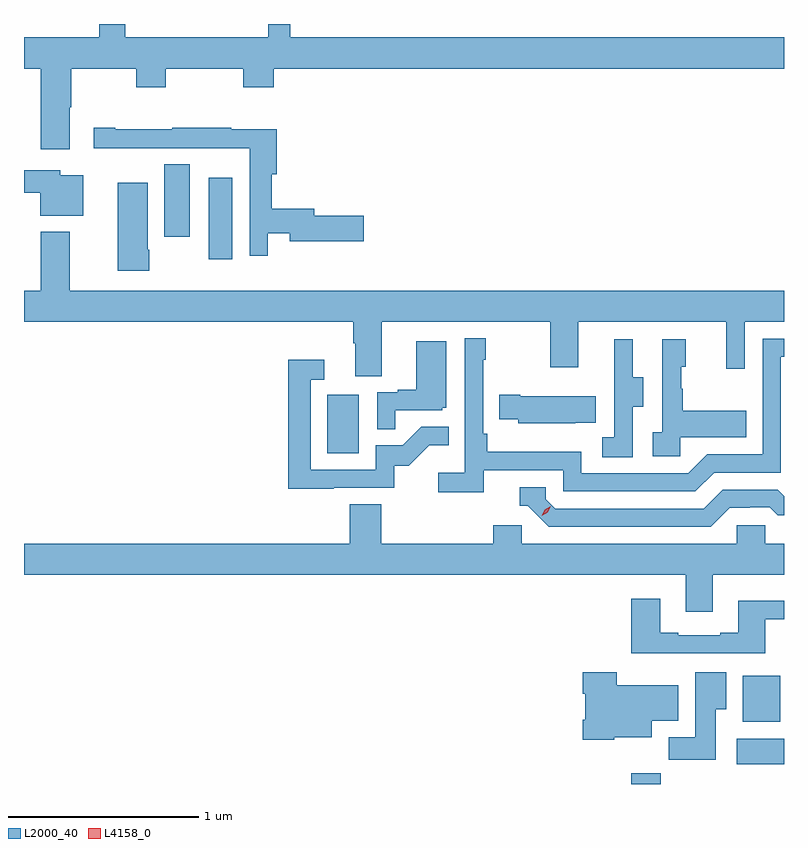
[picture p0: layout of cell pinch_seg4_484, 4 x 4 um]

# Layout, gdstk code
import gdstk
lib = gdstk.Library(unit=1e-6, precision=1e-09)
def R(c, l, rs):  # rectangles x0, y0, x1, y1
    for r in rs: c.add(gdstk.rectangle(r[:2], r[2:], *l))
def P(c, l, *ps):  # polygons
    for p in ps: c.add(gdstk.Polygon(p, *l))
L2000_40 = (2000, 40)
L4158_0 = (4158, 0)

pinch_seg4_484 = lib.new_cell('pinch_seg4_484')
R(pinch_seg4_484, L2000_40, [(950.801,761.087,950.957,761.144), (951.357,761.192,951.605,761.326), (951.389,761.414,951.586,761.656), (949.202,762.828,949.366,763.135), (948.578,763.848,948.7,764.278), (948.344,763.968,948.478,764.348)])
P(pinch_seg4_484, L2000_40, [(947.845,764.648),(947.853,764.648),(947.853,764.852),(948.196,764.852),(948.196,764.753),(948.351,764.753),(948.351,764.852),(948.76,764.852),(948.76,764.753),(948.92,764.753),(948.92,764.852),(951.605,764.852),(951.605,765.016),(949.007,765.016),(949.007,765.087),(948.891,765.087),(948.891,765.016),(948.139,765.016),(948.139,765.087),(948,765.087),(948,765.016),(947.605,765.016),(947.605,764.852),(947.693,764.852),(947.693,764.427),(947.845,764.427)],
  [(948.888,763.986),(949.004,763.986),(949.004,763.943),(949.393,763.943),(949.393,764.078),(949.132,764.078),(949.132,764.114),(948.908,764.114),(948.908,764.297),(948.935,764.297),(948.935,764.532),(948.695,764.532),(948.695,764.542),(948.385,764.542),(948.385,764.532),(948.085,764.532),(948.085,764.542),(947.973,764.542),(947.973,764.432),(948.248,764.432),(948.248,764.433),(948.582,764.433),(948.582,764.432),(948.792,764.432),(948.792,763.866),(948.888,763.866)],
  [(947.917,764.29),(947.796,764.29),(947.796,764.316),(947.605,764.316),(947.605,764.2),(947.69,764.2),(947.69,764.078),(947.917,764.078)],
  [(948.264,763.9),(948.256,763.9),(948.256,764.251),(948.098,764.251),(948.098,763.788),(948.264,763.788)],
  [(949.489,763.52),(950.374,763.52),(950.374,763.281),(950.521,763.281),(950.521,763.52),(951.302,763.52),(951.302,763.272),(951.399,763.272),(951.399,763.52),(951.605,763.52),(951.605,763.684),(947.845,763.684),(947.845,763.993),(947.693,763.993),(947.693,763.684),(947.605,763.684),(947.605,763.52),(949.337,763.52),(949.337,763.408),(949.349,763.408),(949.349,763.234),(949.489,763.234)],
  [(950.024,762.738),(950.442,762.738),(950.442,762.627),(951.139,762.627),(951.238,762.726),(951.588,762.726),(951.588,763.335),(951.605,763.335),(951.605,763.431),(951.492,763.431),(951.492,762.822),(951.201,762.822),(951.102,762.723),(950.538,762.723),(950.538,762.835),(950.042,762.835),(950.042,762.931),(950.022,762.931),(950.022,763.319),(950.035,763.319),(950.035,763.432),(949.926,763.432),(949.926,762.724),(949.785,762.724),(949.785,762.622),(950.024,762.622)],
  [(951.06,762.911),(951.407,762.911),(951.407,763.051),(951.073,763.051),(951.073,763.166),(951.063,763.166),(951.063,763.284),(951.088,763.284),(951.088,763.429),(950.964,763.429),(950.964,762.938),(950.913,762.938),(950.913,762.813),(951.06,762.813)],
  [(950.808,763.072),(950.863,763.072),(950.863,763.227),(950.809,763.227),(950.809,763.429),(950.711,763.429),(950.711,763.215),(950.712,763.215),(950.712,762.911),(950.649,762.911),(950.649,762.808),(950.808,762.808)],
  [(949.559,763.053),(949.806,763.053),(949.806,763.068),(949.828,763.068),(949.828,763.417),(949.67,763.417),(949.67,763.162),(949.571,763.162),(949.571,763.149),(949.464,763.149),(949.464,762.955),(949.559,762.955)],
  [(949.235,762.645),(949.554,762.645),(949.554,762.762),(949.63,762.762),(949.737,762.869),(949.841,762.869),(949.841,762.968),(949.697,762.968),(949.599,762.87),(949.455,762.87),(949.455,762.741),(949.113,762.741),(949.113,763.215),(949.186,763.215),(949.186,763.321),(948.997,763.321),(948.997,762.64),(949.235,762.64)],
  [(950.507,762.989),(950.615,762.989),(950.615,763.129),(950.218,763.129),(950.218,763.137),(950.107,763.137),(950.107,763.007),(950.205,763.007),(950.205,762.986),(950.507,762.986)],
  [(951.319,762.54),(951.426,762.54),(951.426,762.543),(951.529,762.543),(951.571,762.501),(951.605,762.501),(951.605,762.602),(951.571,762.636),(951.282,762.636),(951.183,762.537),(950.4,762.537),(950.352,762.585),(950.352,762.648),(950.213,762.648),(950.213,762.552),(950.256,762.552),(950.367,762.441),(951.22,762.441)],
  [(951.605,762.352),(951.507,762.352),(951.507,762.45),(951.357,762.45),(951.357,762.352),(950.226,762.352),(950.226,762.45),(950.075,762.45),(950.075,762.352),(949.484,762.352),(949.484,762.56),(949.319,762.56),(949.319,762.352),(947.605,762.352),(947.605,762.188),(951.089,762.188),(951.089,761.994),(951.229,761.994),(951.229,762.188),(951.605,762.188)],
  [(951.041,761.775),(951.505,761.775),(951.505,761.955),(951.605,761.955),(951.605,762.052),(951.365,762.052),(951.365,761.884),(951.269,761.884),(951.269,761.871),(951.049,761.871),(951.049,761.884),(950.953,761.884),(950.953,762.061),(950.801,762.061),(950.801,761.774),(951.041,761.774)],
  [(951.247,761.48),(951.301,761.48),(951.301,761.674),(951.137,761.674),(951.137,761.332),(950.998,761.332),(950.998,761.214),(951.247,761.214)],
  [(950.712,761.333),(950.908,761.333),(950.908,761.42),(951.049,761.42),(951.049,761.608),(950.724,761.608),(950.724,761.674),(950.546,761.674),(950.546,761.561),(950.558,761.561),(950.558,761.425),(950.546,761.425),(950.546,761.321),(950.712,761.321)])
P(pinch_seg4_484, L4158_0, [(950.329,762.498),(950.329,762.499),(950.346,762.531),(950.377,762.55),(950.377,762.55),(950.377,762.55),(950.361,762.517),(950.33,762.498)])

lib.write_gds('pinch_seg4_484.gds')
